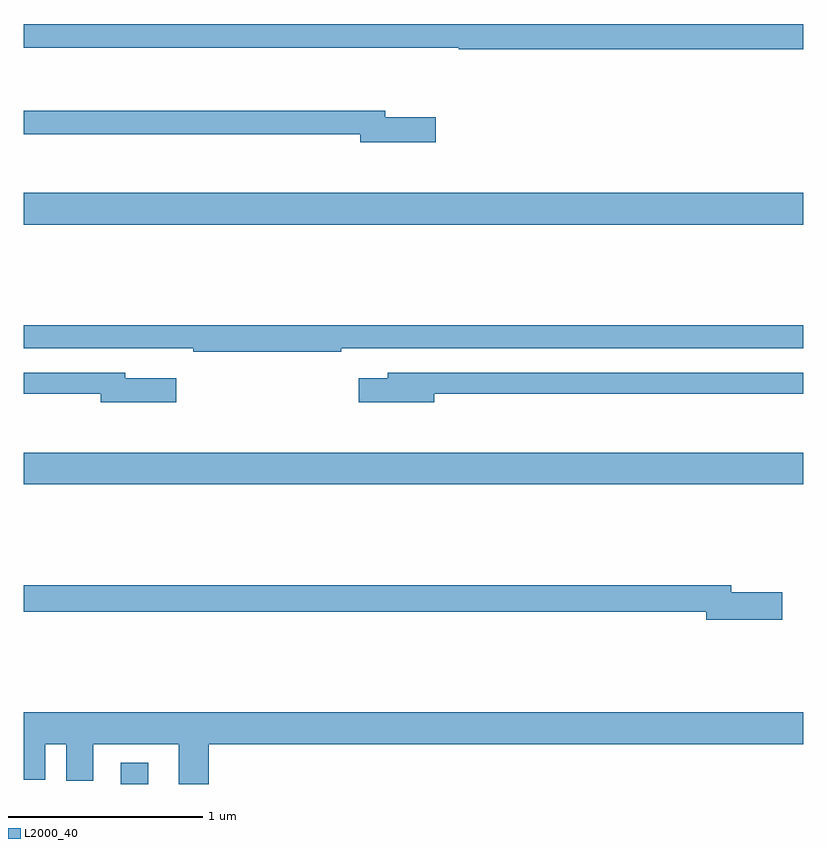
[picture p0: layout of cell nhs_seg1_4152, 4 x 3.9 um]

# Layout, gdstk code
import gdstk
lib = gdstk.Library(unit=1e-6, precision=1e-09)
def R(c, l, rs):  # rectangles x0, y0, x1, y1
    for r in rs: c.add(gdstk.rectangle(r[:2], r[2:], *l))
def P(c, l, *ps):  # polygons
    for p in ps: c.add(gdstk.Polygon(p, *l))
L2000_40 = (2000, 40)

nhs_seg1_4152 = lib.new_cell('nhs_seg1_4152')
R(nhs_seg1_4152, L2000_40, [(337.499,546.199,337.639,546.307), (337,547.736,341,547.9), (337,549.068,341,549.232)])
P(nhs_seg1_4152, L2000_40, [(341,550.099),(337,550.099),(337,549.978),(339.232,549.978),(339.232,549.97),(341,549.97)],
  [(339.115,549.621),(338.854,549.621),(338.854,549.655),(337,549.655),(337,549.534),(338.726,549.534),(338.726,549.491),(339.115,549.491)],
  [(338.63,548.436),(341,548.436),(341,548.552),(337,548.552),(337,548.436),(337.618,548.436),(337.618,548.435),(337.87,548.435),(337.87,548.416),(338.63,548.416)],
  [(337.783,548.281),(337.522,548.281),(337.522,548.31),(337,548.31),(337,548.202),(337.394,548.202),(337.394,548.159),(337.783,548.159)],
  [(339.106,548.202),(341,548.202),(341,548.31),(338.867,548.31),(338.867,548.281),(338.718,548.281),(338.718,548.159),(339.106,548.159)],
  [(340.891,547.184),(340.63,547.184),(340.63,547.22),(337,547.22),(337,547.084),(340.502,547.084),(340.502,547.042),(340.891,547.042)],
  [(337.949,546.404),(341,546.404),(341,546.568),(337,546.568),(337,546.22),(337.111,546.22),(337.111,546.404),(337.218,546.404),(337.218,546.216),(337.357,546.216),(337.357,546.404),(337.796,546.404),(337.796,546.199),(337.949,546.199)])

lib.write_gds('nhs_seg1_4152.gds')
